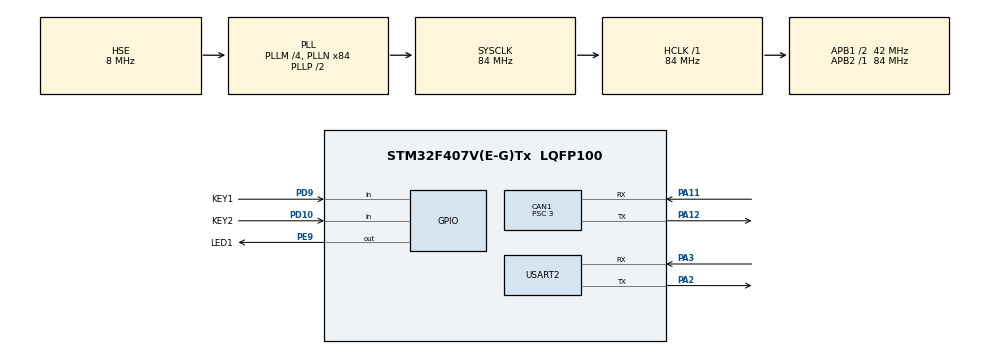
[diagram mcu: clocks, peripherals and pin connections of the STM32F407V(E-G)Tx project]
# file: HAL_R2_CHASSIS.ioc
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CAN1.BS1=CAN_BS1_9TQ
CAN1.BS2=CAN_BS2_4TQ
CAN1.CalculateBaudRate=1000000
CAN1.CalculateTimeBit=1000
CAN1.CalculateTimeQuantum=71.42857142857143
CAN1.Prescaler=3
FREERTOS.Events01=myEvent01,Dynamic,NULL
FREERTOS.Tasks01=defaultTask,24,128,StartDefaultTask,Default,NULL,Dynamic,NULL,NULL;myTask02,26,128,StartTask02,Default,NULL,Dynamic,NULL,NULL
Mcu.Family=STM32F4
Mcu.Name=STM32F407V(E-G)Tx
Mcu.Package=LQFP100
NVIC.CAN1_RX0_IRQn=true\:5\:0\:false\:false\:true\:true\:true\:true\:true
NVIC.PriorityGroup=NVIC_PRIORITYGROUP_4
NVIC.TIM2_IRQn=true\:15\:0\:false\:false\:true\:false\:false\:true\:true
NVIC.TimeBase=TIM2_IRQn
NVIC.TimeBaseIP=TIM2
PA11.Mode=CAN_Activate
PA11.Signal=CAN1_RX
PA12.Mode=CAN_Activate
PA12.Signal=CAN1_TX
PA13.Mode=Serial_Wire
PA13.Signal=SYS_JTMS-SWDIO
PA14.Mode=Serial_Wire
PA14.Signal=SYS_JTCK-SWCLK
PA2.Mode=Asynchronous
PA2.Signal=USART2_TX
PA3.Mode=Asynchronous
PA3.Signal=USART2_RX
PD10.GPIO_Label=KEY2
PD10.GPIO_PuPd=GPIO_PULLUP
PD10.Signal=GPIO_Input
PD9.GPIO_Label=KEY1
PD9.GPIO_PuPd=GPIO_PULLUP
PD9.Signal=GPIO_Input
PE9.GPIO_Label=LED1
PE9.GPIO_Speed=GPIO_SPEED_FREQ_HIGH
PE9.PinState=GPIO_PIN_SET
PE9.Signal=GPIO_Output
PH0-OSC_IN.Mode=HSE-External-Oscillator
PH0-OSC_IN.Signal=RCC_OSC_IN
PH1-OSC_OUT.Mode=HSE-External-Oscillator
PH1-OSC_OUT.Signal=RCC_OSC_OUT
ProjectManager.HeapSize=0x200
ProjectManager.StackSize=0x400
ProjectManager.TargetToolchain=MDK-ARM V5.32
RCC.48MHZClocksFreq_Value=42000000
RCC.AHBFreq_Value=84000000
RCC.APB1CLKDivider=RCC_HCLK_DIV2
RCC.APB1Freq_Value=42000000
RCC.APB1TimFreq_Value=84000000
RCC.APB2Freq_Value=84000000
RCC.APB2TimFreq_Value=84000000
RCC.CortexFreq_Value=84000000
RCC.HCLKFreq_Value=84000000
RCC.HSE_VALUE=8000000
RCC.HSI_VALUE=16000000
RCC.LSE_VALUE=32768
RCC.PLLM=4
RCC.PLLN=84
RCC.PLLSourceVirtual=RCC_PLLSOURCE_HSE
RCC.SYSCLKFreq_VALUE=84000000
RCC.SYSCLKSource=RCC_SYSCLKSOURCE_PLLCLK
RCC.VCOOutputFreq_Value=168000000
USART2.VirtualMode=VM_ASYNC
VP_FREERTOS_VS_CMSIS_V2.Mode=CMSIS_V2
VP_SYS_VS_tim2.Mode=TIM2
board=custom

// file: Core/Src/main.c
/* USER CODE BEGIN Header */
/**
  ******************************************************************************
  * @file           : main.c
  * @brief          : Main program body
  ******************************************************************************
  * @attention
  *
  * Copyright (c) 2023 STMicroelectronics.
  * All rights reserved.
  *
  * This software is licensed under terms that can be found in the LICENSE file
  * in the root directory of this software component.
  * If no LICENSE file comes with this software, it is provided AS-IS.
  *
  ******************************************************************************
  */
/* USER CODE END Header */
#include "main.h"
#include "cmsis_os.h"
#include "can.h"
#include "usart.h"
#include "gpio.h"

void SystemClock_Config(void);
void MX_FREERTOS_Init(void);

int main(void)
{

  /* MCU Configuration--------------------------------------------------------*/

  /* Reset of all peripherals, Initializes the Flash interface and the Systick. */
  HAL_Init();

  /* Configure the system clock */
  SystemClock_Config();

  /* Initialize all configured peripherals */
  MX_GPIO_Init();
  MX_CAN1_Init();
  MX_USART2_UART_Init();
  /* USER CODE BEGIN 2 */

  //各电机pid参数的初始化

  /* USER CODE END 2 */

  /* Init scheduler */
  osKernelInitialize();  /* Call init function for freertos objects (in freertos.c) */
  MX_FREERTOS_Init();

  /* Start scheduler */
  osKernelStart();
  /* We should never get here as control is now taken by the scheduler */
  /* Infinite loop */
  while (1)
  {

  }
}

void SystemClock_Config(void)
{
  RCC_OscInitTypeDef RCC_OscInitStruct = {0};
  RCC_ClkInitTypeDef RCC_ClkInitStruct = {0};

  /** Configure the main internal regulator output voltage
  */
  __HAL_RCC_PWR_CLK_ENABLE();
  __HAL_PWR_VOLTAGESCALING_CONFIG(PWR_REGULATOR_VOLTAGE_SCALE1);

  /** Initializes the RCC Oscillators according to the specified parameters
  * in the RCC_OscInitTypeDef structure.
  */
  RCC_OscInitStruct.OscillatorType = RCC_OSCILLATORTYPE_HSE;
  RCC_OscInitStruct.HSEState = RCC_HSE_ON;
  RCC_OscInitStruct.PLL.PLLState = RCC_PLL_ON;
  RCC_OscInitStruct.PLL.PLLSource = RCC_PLLSOURCE_HSE;
  RCC_OscInitStruct.PLL.PLLM = 4;
  RCC_OscInitStruct.PLL.PLLN = 84;
  RCC_OscInitStruct.PLL.PLLP = RCC_PLLP_DIV2;
  RCC_OscInitStruct.PLL.PLLQ = 4;
  if (HAL_RCC_OscConfig(&RCC_OscInitStruct) != HAL_OK)
  {
    Error_Handler();
  }

  /** Initializes the CPU, AHB and APB buses clocks
  */
  RCC_ClkInitStruct.ClockType = RCC_CLOCKTYPE_HCLK|RCC_CLOCKTYPE_SYSCLK
                              |RCC_CLOCKTYPE_PCLK1|RCC_CLOCKTYPE_PCLK2;
  RCC_ClkInitStruct.SYSCLKSource = RCC_SYSCLKSOURCE_PLLCLK;
  RCC_ClkInitStruct.AHBCLKDivider = RCC_SYSCLK_DIV1;
  RCC_ClkInitStruct.APB1CLKDivider = RCC_HCLK_DIV2;
  RCC_ClkInitStruct.APB2CLKDivider = RCC_HCLK_DIV1;

  if (HAL_RCC_ClockConfig(&RCC_ClkInitStruct, FLASH_LATENCY_2) != HAL_OK)
  {
    Error_Handler();
  }
}

void HAL_TIM_PeriodElapsedCallback(TIM_HandleTypeDef *htim)
{
  if (htim->Instance == TIM2) {
    HAL_IncTick();
  }
}

void Error_Handler(void)
{
  __disable_irq();
  while (1)
  {
  }
}

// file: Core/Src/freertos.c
/* USER CODE BEGIN Header */
/**
  ******************************************************************************
  * File Name          : freertos.c
  * Description        : Code for freertos applications
  ******************************************************************************
  * @attention
  *
  * Copyright (c) 2023 STMicroelectronics.
  * All rights reserved.
  *
  * This software is licensed under terms that can be found in the LICENSE file
  * in the root directory of this software component.
  * If no LICENSE file comes with this software, it is provided AS-IS.
  *
  ******************************************************************************
  */
/* USER CODE END Header */

#include "FreeRTOS.h"
#include "task.h"
#include "main.h"
#include "cmsis_os.h"

/* Definitions for defaultTask */
osThreadId_t defaultTaskHandle;
const osThreadAttr_t defaultTask_attributes = {
  .name = "defaultTask",
  .stack_size = 128 * 4,
  .priority = (osPriority_t) osPriorityNormal,
};
/* Definitions for myTask02 */
osThreadId_t myTask02Handle;
const osThreadAttr_t myTask02_attributes = {
  .name = "myTask02",
  .stack_size = 128 * 4,
  .priority = (osPriority_t) osPriorityNormal2,
};
/* Definitions for myEvent01 */
osEventFlagsId_t myEvent01Handle;
const osEventFlagsAttr_t myEvent01_attributes = {
  .name = "myEvent01"
};

/* USER CODE BEGIN FunctionPrototypes */
	#include "user_can_init.h"
	#include "chassis.h"
	#include "pid.h"
	#include "queue.h"
	#include "event_groups.h"

	extern ROBOT_CHASSIS ROBOT_CHASSI;

	#define KEY1_EVENT  (0x01 << 0)//设置事件掩码的位0
	#define KEY2_EVENT  (0x01 << 1)//设置事件掩码的位1
/* USER CODE END FunctionPrototypes */

void StartDefaultTask(void *argument);
void StartTask02(void *argument);

void MX_FREERTOS_Init(void); /* (MISRA C 2004 rule 8.1) */

void MX_FREERTOS_Init(void) {

  /* Create the thread(s) */
  /* creation of defaultTask */
  defaultTaskHandle = osThreadNew(StartDefaultTask, NULL, &defaultTask_attributes);

  /* creation of myTask02 */
  myTask02Handle = osThreadNew(StartTask02, NULL, &myTask02_attributes);

  /* Create the event(s) */
  /* creation of myEvent01 */
  myEvent01Handle = osEventFlagsNew(&myEvent01_attributes);

}

void StartDefaultTask(void *argument)
{
  /* USER CODE BEGIN StartDefaultTask */
	User_Open_Can();

	PID_Parameter_Speed_Init(&M3508_PID[0],10.0,1.0,0.1 , 15000 ,5000 , 0 , 500);	//1号电机
	PID_Parameter_Speed_Init(&M3508_PID[1],10.0,1.0,0.1 , 15000 ,5000 , 0 , 500);	//2号电机
	PID_Parameter_Speed_Init(&M3508_PID[2],10.0,1.0,0.1 , 15000 ,5000 , 0 , 500);	//3号电机
	PID_Parameter_Speed_Init(&M3508_PID[3],10.0,1.0,0.1 , 15000 ,5000 , 0 , 500);	//4号电机

	ROBOT_CHASSI.SPEED.Robot_VX = 0;
	ROBOT_CHASSI.SPEED.Robot_VY = 0;
	ROBOT_CHASSI.SPEED.World_W = 0;

	EventBits_t r_event;
	uint16_t flag=0;
  /* Infinite loop */
  for(;;)
  {
	  r_event = xEventGroupWaitBits(myEvent01Handle,  /* 事件对象句柄 */
									  KEY1_EVENT|KEY2_EVENT,/* 接收线程感兴趣的事件 */
									  pdTRUE,   /* 退出时清除事件位 */
									  pdTRUE,   /* 满足感兴趣的所有事件 */
									  0);/* 指定超时事件,一直等 */

	  if((r_event & (KEY1_EVENT|KEY2_EVENT)) == (KEY1_EVENT|KEY2_EVENT))
	  {
		flag=!flag;
	  }

	  if(flag)
	  {
		ROBOT_CHASSI.SPEED.Robot_VX = 0;
		ROBOT_CHASSI.SPEED.Robot_VY = 0;
		ROBOT_CHASSI.SPEED.World_W = 1;
		HAL_GPIO_WritePin(LED1_GPIO_Port, LED1_Pin, GPIO_PIN_SET);
	  }
	  else
	  {
		ROBOT_CHASSI.SPEED.Robot_VX = 0;
		ROBOT_CHASSI.SPEED.Robot_VY = 0;
		ROBOT_CHASSI.SPEED.World_W = 0;
		HAL_GPIO_WritePin(LED1_GPIO_Port, LED1_Pin, GPIO_PIN_RESET);
	  }

	  Robot_Wheels_Adjust();
	  osDelay(1);
  }
  /* USER CODE END StartDefaultTask */
}

void StartTask02(void *argument)
{
  /* USER CODE BEGIN StartTask02 */
  /* Infinite loop */
  for(;;)
  {
	if(HAL_GPIO_ReadPin(KEY1_GPIO_Port,KEY1_Pin)==0)
	{
		osDelay(20);
		while(HAL_GPIO_ReadPin(KEY1_GPIO_Port,KEY1_Pin)==0);
		xEventGroupSetBits(myEvent01Handle,KEY1_EVENT);
	}

	if(HAL_GPIO_ReadPin(KEY2_GPIO_Port,KEY2_Pin)==0)
	{
		osDelay(20);
		while(HAL_GPIO_ReadPin(KEY2_GPIO_Port,KEY2_Pin)==0);
		xEventGroupSetBits(myEvent01Handle,KEY2_EVENT);
	}
    osDelay(20);
  }
  /* USER CODE END StartTask02 */
}
